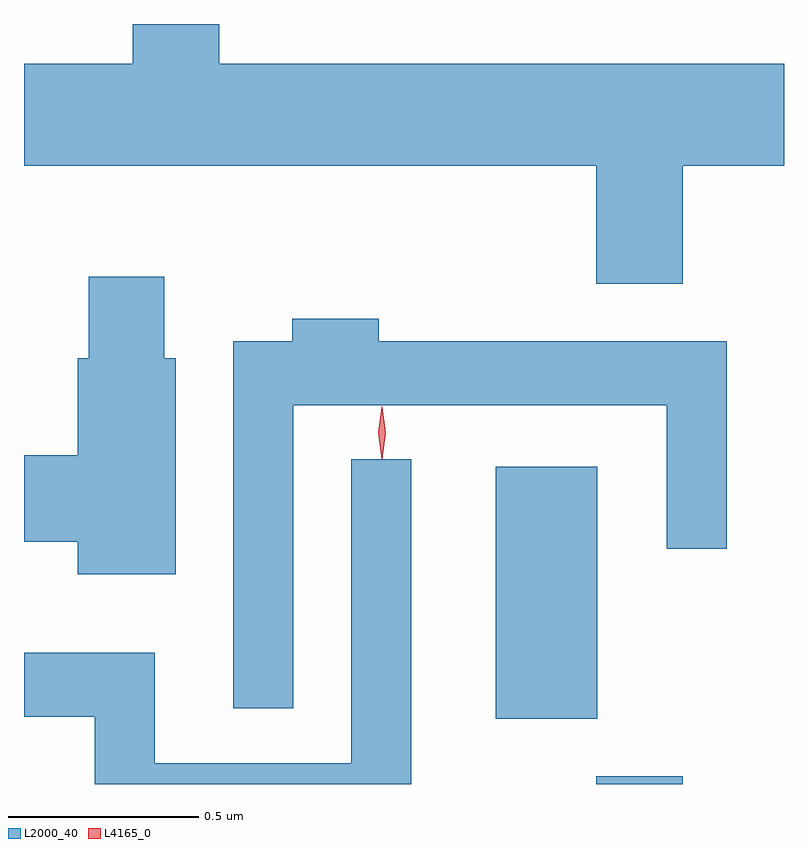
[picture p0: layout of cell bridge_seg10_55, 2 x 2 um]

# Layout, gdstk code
import gdstk
lib = gdstk.Library(unit=1e-6, precision=1e-09)
def R(c, l, rs):  # rectangles x0, y0, x1, y1
    for r in rs: c.add(gdstk.rectangle(r[:2], r[2:], *l))
def P(c, l, *ps):  # polygons
    for p in ps: c.add(gdstk.Polygon(p, *l))
L2000_40 = (2000, 40)
L4165_0 = (4165, 0)

bridge_seg10_55 = lib.new_cell('bridge_seg10_55')
R(bridge_seg10_55, L2000_40, [(1596.731,2207.749,1596.959,2207.769), (1596.466,2207.921,1596.734,2208.584)])
P(bridge_seg10_55, L2000_40, [(1596.959,2209.376),(1597.225,2209.376),(1597.225,2209.644),(1595.739,2209.644),(1595.739,2209.749),(1595.511,2209.749),(1595.511,2209.644),(1595.225,2209.644),(1595.225,2209.376),(1596.731,2209.376),(1596.731,2209.066),(1596.959,2209.066)],
  [(1595.624,2208.869),(1595.594,2208.869),(1595.594,2209.084),(1595.396,2209.084),(1595.396,2208.869),(1595.366,2208.869),(1595.366,2208.614),(1595.225,2208.614),(1595.225,2208.386),(1595.366,2208.386),(1595.366,2208.301),(1595.624,2208.301)],
  [(1595.934,2208.746),(1596.916,2208.746),(1596.916,2208.368),(1597.074,2208.368),(1597.074,2208.914),(1596.159,2208.914),(1596.159,2208.974),(1595.931,2208.974),(1595.931,2208.914),(1595.776,2208.914),(1595.776,2207.948),(1595.934,2207.948)],
  [(1596.244,2208.603),(1596.086,2208.603),(1596.086,2207.804),(1595.569,2207.804),(1595.569,2208.094),(1595.225,2208.094),(1595.225,2207.926),(1595.411,2207.926),(1595.411,2207.749),(1596.244,2207.749)])
P(bridge_seg10_55, L4165_0, [(1596.167,2208.604),(1596.167,2208.604),(1596.157,2208.673),(1596.167,2208.742),(1596.167,2208.743),(1596.168,2208.742),(1596.177,2208.673),(1596.168,2208.604)])

lib.write_gds('bridge_seg10_55.gds')
